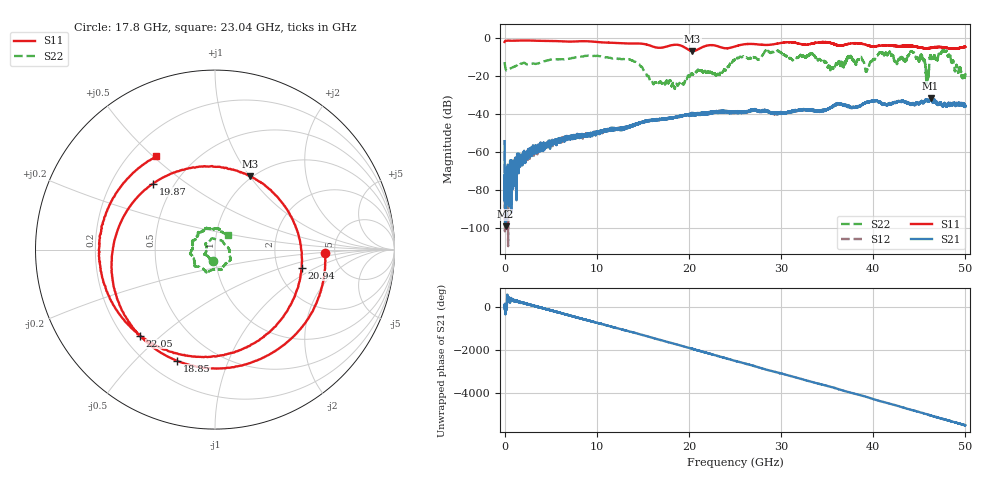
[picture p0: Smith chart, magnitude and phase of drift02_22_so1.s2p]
!Created with skrf (http://scikit-rf.org).
# Hz S RI R 50.0
!freq ReS11 ImS11 ReS21 ImS21 ReS12 ImS12 ReS22 ImS22
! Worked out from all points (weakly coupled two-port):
!   10001 points, 300 kHz to 50 GHz, reference 50 ohm
!   highest |S21| = -31.67 dB at 46.22 GHz (marker M1); lowest = -98.9 dB at 100.3 MHz (marker M2)
!   lowest |S11| = -6.9 dB at 20.36 GHz (marker M3), VSWR 2.65, Z = 48.9 + j50 ohm
!   |S11| at or under -10 dB: nowhere
!   |S22| runs from -26.8 to -6.2 dB; largest |S21 - S12| = 0.0031
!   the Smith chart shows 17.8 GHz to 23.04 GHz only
!   S11 on the Smith chart (normalised r, x): 17.8 GHz: 4.15, -0.25; 18.85 GHz: 0.31, -0.67; 19.87 GHz: 0.38, +0.38; 20.94 GHz: 2.73, -0.72; 22.05 GHz: 0.27, -0.43; 23.04 GHz: 0.31, +0.51
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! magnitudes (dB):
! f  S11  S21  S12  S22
! 300 kHz  -2.1  -54.2  -59.8  -12.7
! 100.3 MHz  -1.5  -98.9  -75.3  -16.3
! 265.3 MHz  -1.4  -75.1  -71.2  -17.0
! 2.915 GHz  -1.4  -59.1  -58.8  -13.6
! 8.335 GHz  -1.7  -51.8  -51.9  -9.7
! 13.7 GHz  -2.9  -46.4  -46.5  -11.6
! 16.67 GHz  -5.2  -43.0  -42.8  -23.5
! 17.8 GHz  -4.3  -42.5  -42.3  -23.6
! 18.85 GHz  -3.7  -41.2  -41.2  -24.7
! 19.87 GHz  -5.9  -40.4  -40.3  -20.3
! 20.36 GHz  -6.9  -39.8  -40.7  -18.9
! 20.94 GHz  -6.1  -39.8  -39.9  -17.1
! 22.05 GHz  -3.9  -39.6  -39.5  -17.6
! 23.04 GHz  -4.2  -38.6  -39.2  -19.1
! 25 GHz  -4.5  -39.1  -39.2  -11.4
! 33.34 GHz  -3.0  -38.0  -38.0  -8.3
! 39.32 GHz  -3.8  -33.7  -33.7  -17.1
! 41.67 GHz  -4.0  -34.7  -34.8  -7.7
! 45.86 GHz  -5.5  -32.7  -32.9  -18.5
! 46.22 GHz  -5.3  -31.7  -31.5  -9.1
! 47.76 GHz  -5.0  -34.2  -34.7  -6.7
! 50 GHz  -4.7  -36.0  -35.7  -19.3
